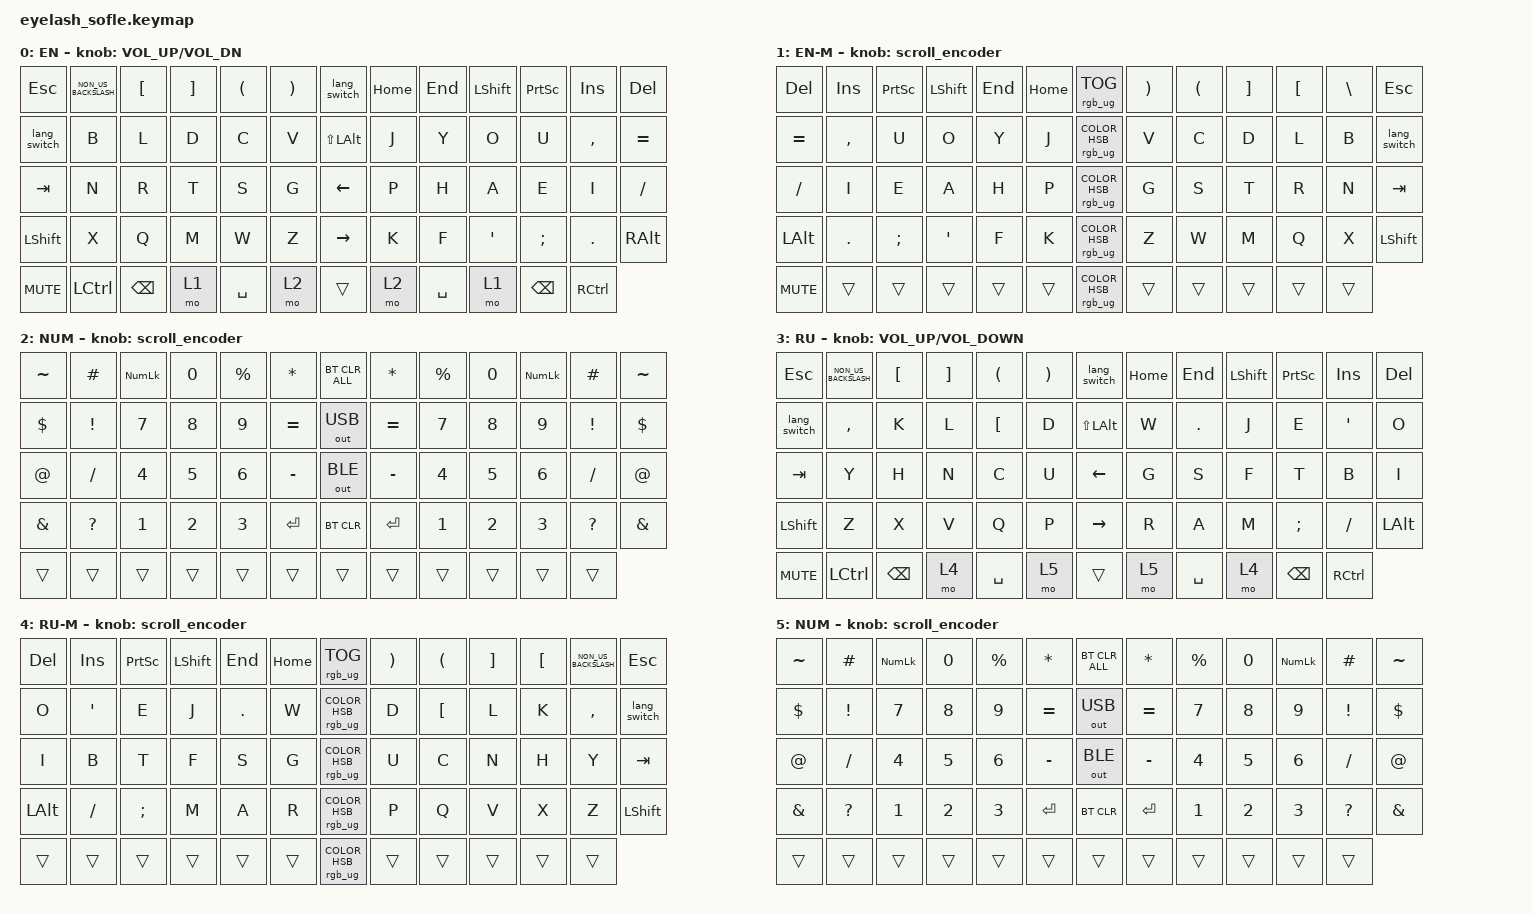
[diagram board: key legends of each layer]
#define ZMK_POINTING_DEFAULT_MOVE_VAL 1200  // 600
#define ZMK_POINTING_DEFAULT_SCRL_VAL 25   // 10

#include <input/processors.dtsi>
#include <zephyr/dt-bindings/input/input-event-codes.h>
#include <behaviors.dtsi>
#include <dt-bindings/zmk/bt.h>
#include <dt-bindings/zmk/keys.h>
#include <dt-bindings/zmk/outputs.h>
#include <dt-bindings/zmk/pointing.h>
#include <dt-bindings/zmk/rgb.h>

&mmv_input_listener { input-processors = <&zip_xy_scaler 2 1>; };

&msc_input_listener { input-processors = <&zip_scroll_scaler 2 1>; };

&msc {
    acceleration-exponent = <1>;      // 0
    time-to-max-speed-ms = <100>;       // 300
    delay-ms = <0>;                   // 0
};

&mmv {
    time-to-max-speed-ms = <500>;
    acceleration-exponent = <1>;
    trigger-period-ms = <16>;
};

&soft_off { hold-time-ms = <2000>; };

/ {
    scroll_encoder: scroll_encoder {
        compatible = "zmk,behavior-sensor-rotate";
        #sensor-binding-cells = <0>;
        bindings = <&msc SCRL_DOWN>, <&msc SCRL_UP>;

        tap-ms = <100>;
    };

    behaviors {
    };

    combos {
        compatible = "zmk,combos";

        softoff {
            bindings = <&soft_off>;
            key-positions = <14 28 40>;
        };
    };

    macros {
        SHIFT_MCLK: SHIFT_MCLK {
            compatible = "zmk,behavior-macro";
            #binding-cells = <0>;
            bindings =
                <&macro_press>,
                <&kp LEFT_SHIFT>,
                <&macro_press>,
                <&mkp MB3>,
                <&macro_pause_for_release>,
                <&macro_release>,
                <&kp LEFT_SHIFT &mkp MB3>;

            label = "SHIFT_MCLK";
        };

        lang_switch: lang_switch {
            compatible = "zmk,behavior-macro";
            #binding-cells = <0>;
            bindings = <&tog 3 &kp LS(LEFT_ALT)>;
            label = "LANG_SWITCH";
        };
    };

    keymap {
        compatible = "zmk,keymap";

        layer0 {
            bindings = <
&kp ESC       &kp NON_US_BACKSLASH  &kp LEFT_BRACKET  &kp RIGHT_BRACKET  &kp LEFT_PARENTHESIS  &kp RIGHT_PARENTHESIS    &lang_switch      &kp HOME  &kp END    &kp LEFT_SHIFT  &kp PRINTSCREEN  &kp INS     &kp DELETE
&lang_switch  &kp B                 &kp L             &kp D              &kp C                 &kp V                    &kp LS(LEFT_ALT)  &kp J     &kp Y      &kp O           &kp U            &kp COMMA   &kp EQUAL
&kp TAB       &kp N                 &kp R             &kp T              &kp S                 &kp G                    &kp LEFT_ARROW    &kp P     &kp H      &kp A           &kp E            &kp I       &kp SLASH
&kp LSHFT     &kp X                 &kp Q             &kp M              &kp W                 &kp Z                    &kp RIGHT_ARROW   &kp K     &kp F      &kp SQT         &kp SEMICOLON    &kp PERIOD  &kp RIGHT_ALT
&kp C_MUTE    &kp LCTRL             &kp BSPC          &mo 1              &kp SPACE             &mo 2                    &trans            &mo 2     &kp SPACE  &mo 1           &kp BSPC         &kp RCTRL
            >;

            sensor-bindings = <&inc_dec_kp C_VOLUME_UP C_VOL_DN>;
            display-name = "EN";
        };

        layer_1 {
            bindings = <
&kp DEL       &kp INSERT  &kp PRINTSCREEN  &kp LEFT_SHIFT  &kp END  &kp HOME    &rgb_ug RGB_TOG                    &kp RIGHT_PARENTHESIS  &kp LEFT_PARENTHESIS  &kp RBKT  &kp LBKT  &kp BSLH  &kp ESC
&kp EQUAL     &kp COMMA   &kp U            &kp O           &kp Y    &kp J       &rgb_ug RGB_COLOR_HSB(123,100,50)  &kp V                  &kp C                 &kp D     &kp L     &kp B     &lang_switch
&kp FSLH      &kp I       &kp E            &kp A           &kp H    &kp P       &rgb_ug RGB_COLOR_HSB(0,100,50)    &kp G                  &kp S                 &kp T     &kp R     &kp N     &kp TAB
&kp LEFT_ALT  &kp DOT     &kp SEMI         &kp SQT         &kp F    &kp K       &rgb_ug RGB_COLOR_HSB(234,100,50)  &kp Z                  &kp W                 &kp M     &kp Q     &kp X     &kp LSHFT
&kp C_MUTE    &trans      &trans           &trans          &trans   &trans      &rgb_ug RGB_COLOR_HSB(298,100,50)  &trans                 &trans                &trans    &trans    &trans
            >;

            display-name = "EN-M";
            sensor-bindings = <&scroll_encoder>;
        };

        layer_2 {
            bindings = <
&kp TILDE      &kp HASH         &kp KP_NUMLOCK  &kp N0  &kp PERCENT  &kp STAR     &bt BT_CLR_ALL  &kp ASTERISK  &kp PERCENT  &kp N0  &kp KP_NUMLOCK  &kp HASH         &kp TILDE
&kp DOLLAR     &kp EXCLAMATION  &kp N7          &kp N8  &kp N9       &kp EQUAL    &out OUT_USB    &kp EQUAL     &kp N7       &kp N8  &kp N9          &kp EXCLAMATION  &kp DOLLAR
&kp AT         &kp SLASH        &kp N4          &kp N5  &kp N6       &kp MINUS    &out OUT_BLE    &kp MINUS     &kp N4       &kp N5  &kp N6          &kp SLASH        &kp AT
&kp AMPERSAND  &kp QUESTION     &kp N1          &kp N2  &kp N3       &kp RET      &bt BT_CLR      &kp RET       &kp N1       &kp N2  &kp N3          &kp QUESTION     &kp AMPERSAND
&trans         &trans           &trans          &trans  &trans       &trans       &trans          &trans        &trans       &trans  &trans          &trans
            >;

            display-name = "NUM";
            sensor-bindings = <&scroll_encoder>;
        };

        layer_3 {
            bindings = <
&kp ESCAPE      &kp NON_US_BACKSLASH  &kp LEFT_BRACKET  &kp RIGHT_BRACKET  &kp LEFT_PARENTHESIS  &kp RIGHT_PARENTHESIS    &lang_switch      &kp HOME  &kp END    &kp LEFT_SHIFT  &kp PRINTSCREEN  &kp INSERT  &kp DELETE
&lang_switch    &kp COMMA             &kp K             &kp L              &kp LBKT              &kp D                    &kp LS(LEFT_ALT)  &kp W     &kp DOT    &kp J           &kp E            &kp SQT     &kp O
&kp TAB         &kp Y                 &kp H             &kp N              &kp C                 &kp U                    &kp LEFT_ARROW    &kp G     &kp S      &kp F           &kp T            &kp B       &kp I
&kp LEFT_SHIFT  &kp Z                 &kp X             &kp V              &kp Q                 &kp P                    &kp RIGHT_ARROW   &kp R     &kp A      &kp M           &kp SEMI         &kp SLASH   &kp LEFT_ALT
&kp C_MUTE      &kp LCTRL             &kp BSPC          &mo 4              &kp SPACE             &mo 5                    &trans            &mo 5     &kp SPACE  &mo 4           &kp BSPC         &kp RCTRL
            >;

            display-name = "RU";
            sensor-bindings = <&inc_dec_kp C_VOLUME_UP C_VOLUME_DOWN>;
        };

        layer_4 {
            bindings = <
&kp DEL   &kp INS   &kp PRINTSCREEN  &kp LSHFT  &kp END  &kp HOME    &rgb_ug RGB_TOG                    &kp RIGHT_PARENTHESIS  &kp LEFT_PARENTHESIS  &kp RIGHT_BRACKET  &kp LEFT_BRACKET  &kp NON_US_BACKSLASH  &kp ESCAPE
&kp O     &kp SQT   &kp E            &kp J      &kp DOT  &kp W       &rgb_ug RGB_COLOR_HSB(119,100,50)  &kp D                  &kp LBKT              &kp L              &kp K             &kp COMMA             &lang_switch
&kp I     &kp B     &kp T            &kp F      &kp S    &kp G       &rgb_ug RGB_COLOR_HSB(0,100,50)    &kp U                  &kp C                 &kp N              &kp H             &kp Y                 &kp TAB
&kp LALT  &kp FSLH  &kp SEMI         &kp M      &kp A    &kp R       &rgb_ug RGB_COLOR_HSB(235,100,50)  &kp P                  &kp Q                 &kp V              &kp X             &kp Z                 &kp LSHFT
&trans    &trans    &trans           &trans     &trans   &trans      &rgb_ug RGB_COLOR_HSB(301,100,50)  &trans                 &trans                &trans             &trans            &trans
            >;

            display-name = "RU-M";
            sensor-bindings = <&scroll_encoder>;
        };

        layer_5 {
            display-name = "NUM";
            bindings = <
&kp TILDE      &kp HASH         &kp KP_NUMLOCK  &kp N0  &kp PERCENT  &kp STAR     &bt BT_CLR_ALL  &kp ASTERISK  &kp PERCENT  &kp N0  &kp KP_NUMLOCK  &kp HASH         &kp TILDE
&kp DOLLAR     &kp EXCLAMATION  &kp N7          &kp N8  &kp N9       &kp EQUAL    &out OUT_USB    &kp EQUAL     &kp N7       &kp N8  &kp N9          &kp EXCLAMATION  &kp DOLLAR
&kp AT         &kp SLASH        &kp N4          &kp N5  &kp N6       &kp MINUS    &out OUT_BLE    &kp MINUS     &kp N4       &kp N5  &kp N6          &kp SLASH        &kp AT
&kp AMPERSAND  &kp QUESTION     &kp N1          &kp N2  &kp N3       &kp RET      &bt BT_CLR      &kp RET       &kp N1       &kp N2  &kp N3          &kp QUESTION     &kp AMPERSAND
&trans         &trans           &trans          &trans  &trans       &trans       &trans          &trans        &trans       &trans  &trans          &trans
            >;

            sensor-bindings = <&scroll_encoder>;
        };
    };
};
